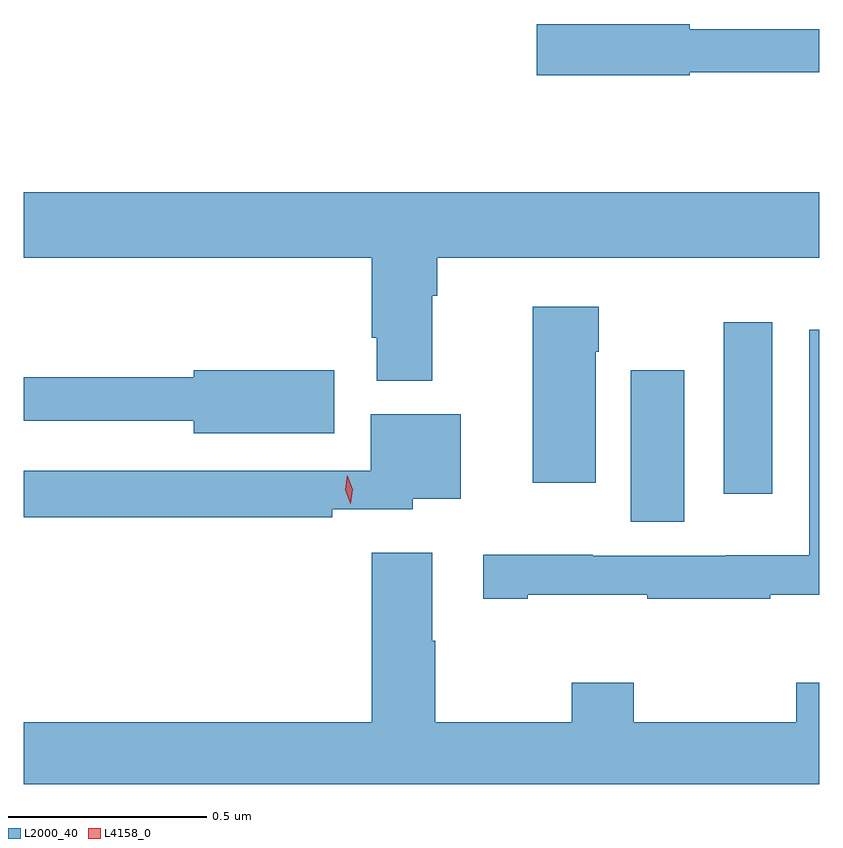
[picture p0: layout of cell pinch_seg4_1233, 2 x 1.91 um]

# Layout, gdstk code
import gdstk
lib = gdstk.Library(unit=1e-6, precision=1e-09)
def R(c, l, rs):  # rectangles x0, y0, x1, y1
    for r in rs: c.add(gdstk.rectangle(r[:2], r[2:], *l))
def P(c, l, *ps):  # polygons
    for p in ps: c.add(gdstk.Polygon(p, *l))
L2000_40 = (2000, 40)
L4158_0 = (4158, 0)

pinch_seg4_1233 = lib.new_cell('pinch_seg4_1233')
R(pinch_seg4_1233, L2000_40, [(367.148,792.16,367.282,792.541), (367.382,792.231,367.504,792.661)])
P(pinch_seg4_1233, L2000_40, [(367.296,793.29),(367.622,793.29),(367.622,793.398),(367.296,793.398),(367.296,793.411),(366.912,793.411),(366.912,793.282),(367.296,793.282)],
  [(366.649,792.728),(366.662,792.728),(366.662,792.824),(367.622,792.824),(367.622,792.988),(365.622,792.988),(365.622,792.824),(366.497,792.824),(366.497,792.622),(366.509,792.622),(366.509,792.515),(366.649,792.515)],
  [(367.06,792.587),(367.068,792.587),(367.068,792.7),(366.902,792.7),(366.902,792.258),(367.06,792.258)],
  [(366.889,791.977),(367.189,791.977),(367.189,791.967),(367.499,791.967),(367.499,791.977),(367.622,791.977),(367.622,792.643),(367.596,792.643),(367.596,792.076),(367.386,792.076),(367.386,792.075),(367.052,792.075),(367.052,792.077),(366.777,792.077),(366.777,791.967),(366.889,791.967)],
  [(366.403,792.541),(366.05,792.541),(366.05,792.523),(365.622,792.523),(365.622,792.414),(366.05,792.414),(366.05,792.383),(366.403,792.383)],
  [(366.398,792.192),(366.6,792.192),(366.6,792.218),(366.721,792.218),(366.721,792.43),(366.494,792.43),(366.494,792.288),(365.622,792.288),(365.622,792.172),(366.398,792.172)],
  [(367.622,791.755),(367.564,791.755),(367.564,791.656),(367.155,791.656),(367.155,791.755),(367,791.755),(367,791.656),(366.657,791.656),(366.657,791.861),(366.649,791.861),(366.649,792.082),(366.497,792.082),(366.497,791.656),(365.622,791.656),(365.622,791.501),(367.622,791.501)])
P(pinch_seg4_1233, L4158_0, [(366.444,792.205),(366.443,792.206),(366.43,792.24),(366.435,792.277),(366.436,792.277),(366.436,792.277),(366.449,792.242),(366.444,792.206)])

lib.write_gds('pinch_seg4_1233.gds')
